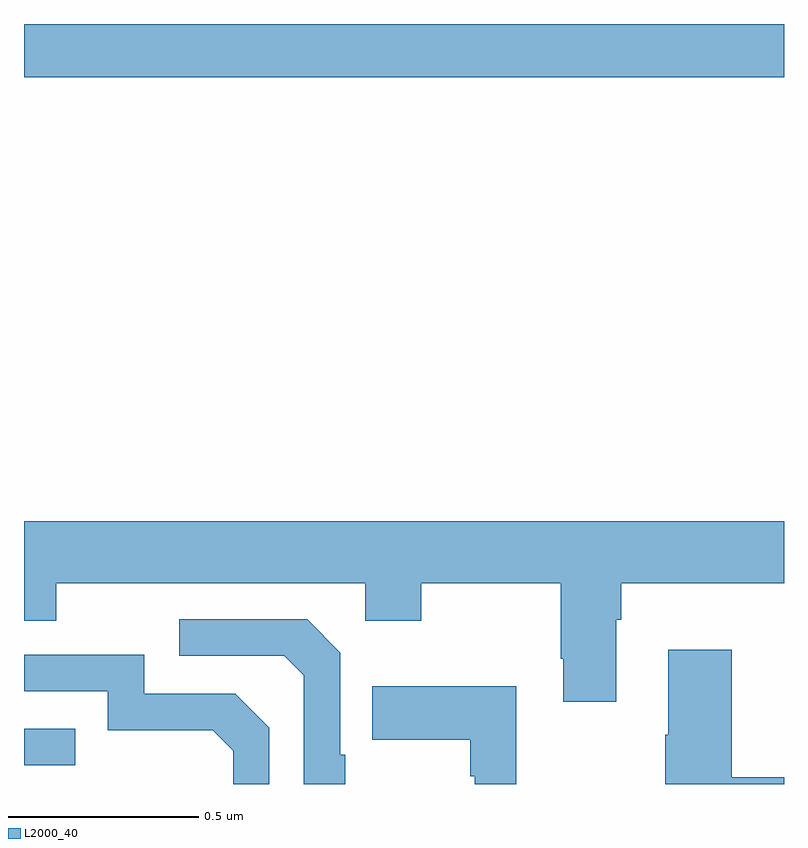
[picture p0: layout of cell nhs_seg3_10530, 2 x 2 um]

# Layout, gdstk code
import gdstk
lib = gdstk.Library(unit=1e-6, precision=1e-09)
def R(c, l, rs):  # rectangles x0, y0, x1, y1
    for r in rs: c.add(gdstk.rectangle(r[:2], r[2:], *l))
def P(c, l, *ps):  # polygons
    for p in ps: c.add(gdstk.Polygon(p, *l))
L2000_40 = (2000, 40)

nhs_seg3_10530 = lib.new_cell('nhs_seg3_10530')
R(nhs_seg3_10530, L2000_40, [(242,688.449,242.135,688.545), (242,690.26,244,690.4)])
P(nhs_seg3_10530, L2000_40, [(243.559,688.832),(243.572,688.832),(243.572,688.928),(244,688.928),(244,689.092),(242,689.092),(242,688.829),(242.085,688.829),(242.085,688.928),(242.898,688.928),(242.898,688.829),(243.045,688.829),(243.045,688.928),(243.412,688.928),(243.412,688.729),(243.419,688.729),(243.419,688.617),(243.559,688.617)],
  [(242.845,688.477),(242.832,688.477),(242.832,688.746),(242.745,688.833),(242.409,688.833),(242.409,688.737),(242.685,688.737),(242.736,688.686),(242.736,688.4),(242.845,688.4)],
  [(244,688.418),(243.863,688.418),(243.863,688.753),(243.695,688.753),(243.695,688.529),(243.688,688.529),(243.688,688.4),(244,688.4)],
  [(242.646,688.548),(242.556,688.638),(242.316,688.638),(242.316,688.74),(242,688.74),(242,688.644),(242.22,688.644),(242.22,688.541),(242.497,688.541),(242.55,688.488),(242.55,688.4),(242.646,688.4)],
  [(243.295,688.657),(242.917,688.657),(242.917,688.517),(243.174,688.517),(243.174,688.421),(243.186,688.421),(243.186,688.4),(243.295,688.4)])

lib.write_gds('nhs_seg3_10530.gds')
